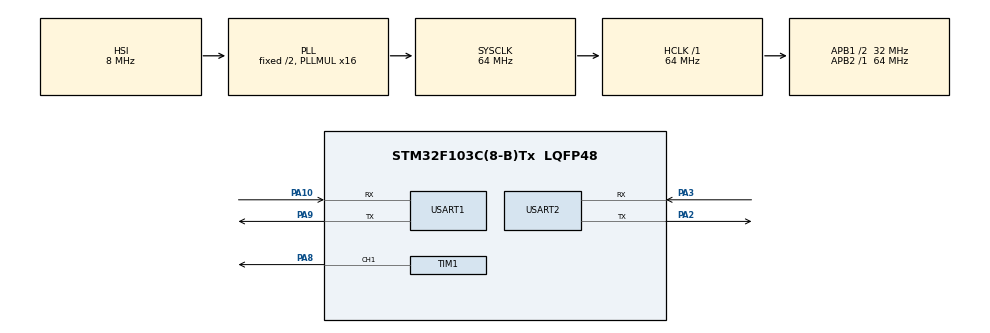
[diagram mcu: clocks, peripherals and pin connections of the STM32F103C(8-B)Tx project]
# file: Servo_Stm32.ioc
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Dma.Request0=USART1_RX
Dma.Request1=USART1_TX
Dma.USART1_RX.0.Direction=DMA_PERIPH_TO_MEMORY
Dma.USART1_RX.0.Instance=DMA1_Channel5
Dma.USART1_RX.0.MemDataAlignment=DMA_MDATAALIGN_BYTE
Dma.USART1_RX.0.MemInc=DMA_MINC_ENABLE
Dma.USART1_RX.0.Mode=DMA_NORMAL
Dma.USART1_RX.0.PeriphDataAlignment=DMA_PDATAALIGN_BYTE
Dma.USART1_RX.0.PeriphInc=DMA_PINC_DISABLE
Dma.USART1_RX.0.Priority=DMA_PRIORITY_LOW
Dma.USART1_TX.1.Direction=DMA_MEMORY_TO_PERIPH
Dma.USART1_TX.1.Instance=DMA1_Channel4
Dma.USART1_TX.1.MemDataAlignment=DMA_MDATAALIGN_BYTE
Dma.USART1_TX.1.MemInc=DMA_MINC_ENABLE
Dma.USART1_TX.1.Mode=DMA_NORMAL
Dma.USART1_TX.1.PeriphDataAlignment=DMA_PDATAALIGN_BYTE
Dma.USART1_TX.1.PeriphInc=DMA_PINC_DISABLE
Dma.USART1_TX.1.Priority=DMA_PRIORITY_LOW
Mcu.Family=STM32F1
Mcu.Name=STM32F103C(8-B)Tx
Mcu.Package=LQFP48
NVIC.DMA1_Channel4_IRQn=true\:0\:0\:false\:false\:true\:false\:true\:true
NVIC.DMA1_Channel5_IRQn=true\:0\:0\:false\:false\:true\:false\:true\:true
NVIC.PriorityGroup=NVIC_PRIORITYGROUP_4
NVIC.TIM1_UP_IRQn=true\:0\:0\:false\:false\:true\:true\:true\:true
NVIC.USART1_IRQn=true\:1\:0\:true\:false\:true\:true\:true\:true
PA10.Mode=Asynchronous
PA10.Signal=USART1_RX
PA13.Mode=Serial_Wire
PA13.Signal=SYS_JTMS-SWDIO
PA14.Mode=Serial_Wire
PA14.Signal=SYS_JTCK-SWCLK
PA2.Mode=Asynchronous
PA2.Signal=USART2_TX
PA3.Mode=Asynchronous
PA3.Signal=USART2_RX
PA8.Signal=S_TIM1_CH1
PA9.Mode=Asynchronous
PA9.Signal=USART1_TX
ProjectManager.HeapSize=0x200
ProjectManager.StackSize=0x400
ProjectManager.TargetToolchain=STM32CubeIDE
RCC.AHBFreq_Value=64000000
RCC.APB1CLKDivider=RCC_HCLK_DIV2
RCC.APB1Freq_Value=32000000
RCC.APB1TimFreq_Value=64000000
RCC.APB2Freq_Value=64000000
RCC.APB2TimFreq_Value=64000000
RCC.HCLKFreq_Value=64000000
RCC.PLLMUL=RCC_PLL_MUL16
RCC.SYSCLKFreq_VALUE=64000000
RCC.SYSCLKSource=RCC_SYSCLKSOURCE_PLLCLK
RCC.USBFreq_Value=64000000
SH.S_TIM1_CH1.0=TIM1_CH1,PWM Generation1 CH1
TIM1.Channel-PWM\ Generation1\ CH1=TIM_CHANNEL_1
TIM1.Period=19999
TIM1.Prescaler=63
USART1.VirtualMode=VM_ASYNC
USART2.VirtualMode=VM_ASYNC
VP_TIM1_VS_ClockSourceINT.Mode=Internal
board=custom

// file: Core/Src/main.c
/* USER CODE BEGIN Header */
/**
  ******************************************************************************
  * @file           : main.c
  * @brief          : Main program body
  ******************************************************************************
  * @attention
  *
  * Copyright (c) 2024 STMicroelectronics.
  * All rights reserved.
  *
  * This software is licensed under terms that can be found in the LICENSE file
  * in the root directory of this software component.
  * If
 LICENSE file comes with this software, it is provided AS-IS.
  *
  ******************************************************************************
  */
/* USER CODE END Header */
#include "main.h"

/* USER CODE BEGIN Includes */
#include "stdlib.h"
/* USER CODE END Includes */

/* USER CODE BEGIN PTD */
uint8_t dataBuffer[3];
int angle;
uint8_t flag = 0;
/* USER CODE END PTD */

TIM_HandleTypeDef htim1;

UART_HandleTypeDef huart1;
UART_HandleTypeDef huart2;
DMA_HandleTypeDef hdma_usart1_rx;
DMA_HandleTypeDef hdma_usart1_tx;

void SystemClock_Config(void);
static void MX_GPIO_Init(void);
static void MX_DMA_Init(void);
static void MX_TIM1_Init(void);
static void MX_USART1_UART_Init(void);
static void MX_USART2_UART_Init(void);
/* USER CODE BEGIN PFP */
long map(long x, long in_min, long in_max,long out_min, long out_max)
{
	return (x - in_min)*(out_max - out_min)/(in_max - in_min) + out_min;
}
/* USER CODE END PFP */

/* USER CODE BEGIN 0 */
void Servo_pwm(TIM_HandleTypeDef *htim, uint32_t channel, uint8_t angle)
{
	uint16_t ARR = __HAL_TIM_GET_AUTORELOAD(htim);
	uint16_t CCR = 1000+((float)angle/180)*1000;
	uint16_t CCR1 = map(angle,0,180,544,2400);
	__HAL_TIM_SET_COMPARE(htim,channel,CCR1);
}

void delay_us(uint32_t us)
{
	__HAL_TIM_SetCounter(&htim1,0);
	HAL_TIM_Base_Start(&htim1);
	while(__HAL_TIM_GET_COUNTER(&htim1)<us);
	HAL_TIM_Base_Stop(&htim1);
}
/* USER CODE END 0 */

int main(void)
{

  /* MCU Configuration--------------------------------------------------------*/

  /* Reset of all peripherals, Initializes the Flash interface and the Systick. */
  HAL_Init();

  /* Configure the system clock */
  SystemClock_Config();

  /* Initialize all configured peripherals */
  MX_GPIO_Init();
  MX_DMA_Init();
  MX_TIM1_Init();
  MX_USART1_UART_Init();
  MX_USART2_UART_Init();
  /* USER CODE BEGIN 2 */
HAL_TIM_PWM_Start(&htim1, TIM_CHANNEL_1);
HAL_UART_Receive(&huart1, dataBuffer,2,300);

  /* USER CODE END 2 */

  /* Infinite loop */
  while (1)
  {

    /* USER CODE BEGIN 3 */
//	    Servo_pwm(&htim1, TIM_CHANNEL_1, 0);
//	    HAL_Delay(1000);
//	    Servo_pwm(&htim1, TIM_CHANNEL_1, 90);
//	    HAL_Delay(1000);
//	    Servo_pwm(&htim1, TIM_CHANNEL_1, 180);
//	    HAL_Delay(100);
	  HAL_UART_Receive(&huart1, dataBuffer,2,300);
	  delay_us(200);
	  angle = atoi((char*)dataBuffer);
	  HAL_Delay(500);
	  Servo_pwm(&htim1, TIM_CHANNEL_1, angle);
  }
  /* USER CODE END 3 */
}

void SystemClock_Config(void)
{
  RCC_OscInitTypeDef RCC_OscInitStruct = {0};
  RCC_ClkInitTypeDef RCC_ClkInitStruct = {0};

  /** Initializes the RCC Oscillators according to the specified parameters
  * in the RCC_OscInitTypeDef structure.
  */
  RCC_OscInitStruct.OscillatorType = RCC_OSCILLATORTYPE_HSI;
  RCC_OscInitStruct.HSIState = RCC_HSI_ON;
  RCC_OscInitStruct.HSICalibrationValue = RCC_HSICALIBRATION_DEFAULT;
  RCC_OscInitStruct.PLL.PLLState = RCC_PLL_ON;
  RCC_OscInitStruct.PLL.PLLSource = RCC_PLLSOURCE_HSI_DIV2;
  RCC_OscInitStruct.PLL.PLLMUL = RCC_PLL_MUL16;
  if (HAL_RCC_OscConfig(&RCC_OscInitStruct) != HAL_OK)
  {
    Error_Handler();
  }

  /** Initializes the CPU, AHB and APB buses clocks
  */
  RCC_ClkInitStruct.ClockType = RCC_CLOCKTYPE_HCLK|RCC_CLOCKTYPE_SYSCLK
                              |RCC_CLOCKTYPE_PCLK1|RCC_CLOCKTYPE_PCLK2;
  RCC_ClkInitStruct.SYSCLKSource = RCC_SYSCLKSOURCE_PLLCLK;
  RCC_ClkInitStruct.AHBCLKDivider = RCC_SYSCLK_DIV1;
  RCC_ClkInitStruct.APB1CLKDivider = RCC_HCLK_DIV2;
  RCC_ClkInitStruct.APB2CLKDivider = RCC_HCLK_DIV1;

  if (HAL_RCC_ClockConfig(&RCC_ClkInitStruct, FLASH_LATENCY_2) != HAL_OK)
  {
    Error_Handler();
  }
}

static void MX_TIM1_Init(void)
{

  TIM_ClockConfigTypeDef sClockSourceConfig = {0};
  TIM_MasterConfigTypeDef sMasterConfig = {0};
  TIM_OC_InitTypeDef sConfigOC = {0};
  TIM_BreakDeadTimeConfigTypeDef sBreakDeadTimeConfig = {0};

  htim1.Instance = TIM1;
  htim1.Init.Prescaler = 63;
  htim1.Init.CounterMode = TIM_COUNTERMODE_UP;
  htim1.Init.Period = 19999;
  htim1.Init.ClockDivision = TIM_CLOCKDIVISION_DIV1;
  htim1.Init.RepetitionCounter = 0;
  htim1.Init.AutoReloadPreload = TIM_AUTORELOAD_PRELOAD_DISABLE;
  if (HAL_TIM_Base_Init(&htim1) != HAL_OK)
  {
    Error_Handler();
  }
  sClockSourceConfig.ClockSource = TIM_CLOCKSOURCE_INTERNAL;
  if (HAL_TIM_ConfigClockSource(&htim1, &sClockSourceConfig) != HAL_OK)
  {
    Error_Handler();
  }
  if (HAL_TIM_PWM_Init(&htim1) != HAL_OK)
  {
    Error_Handler();
  }
  sMasterConfig.MasterOutputTrigger = TIM_TRGO_RESET;
  sMasterConfig.MasterSlaveMode = TIM_MASTERSLAVEMODE_DISABLE;
  if (HAL_TIMEx_MasterConfigSynchronization(&htim1, &sMasterConfig) != HAL_OK)
  {
    Error_Handler();
  }
  sConfigOC.OCMode = TIM_OCMODE_PWM1;
  sConfigOC.Pulse = 0;
  sConfigOC.OCPolarity = TIM_OCPOLARITY_HIGH;
  sConfigOC.OCNPolarity = TIM_OCNPOLARITY_HIGH;
  sConfigOC.OCFastMode = TIM_OCFAST_DISABLE;
  sConfigOC.OCIdleState = TIM_OCIDLESTATE_RESET;
  sConfigOC.OCNIdleState = TIM_OCNIDLESTATE_RESET;
  if (HAL_TIM_PWM_ConfigChannel(&htim1, &sConfigOC, TIM_CHANNEL_1) != HAL_OK)
  {
    Error_Handler();
  }
  sBreakDeadTimeConfig.OffStateRunMode = TIM_OSSR_DISABLE;
  sBreakDeadTimeConfig.OffStateIDLEMode = TIM_OSSI_DISABLE;
  sBreakDeadTimeConfig.LockLevel = TIM_LOCKLEVEL_OFF;
  sBreakDeadTimeConfig.DeadTime = 0;
  sBreakDeadTimeConfig.BreakState = TIM_BREAK_DISABLE;
  sBreakDeadTimeConfig.BreakPolarity = TIM_BREAKPOLARITY_HIGH;
  sBreakDeadTimeConfig.AutomaticOutput = TIM_AUTOMATICOUTPUT_DISABLE;
  if (HAL_TIMEx_ConfigBreakDeadTime(&htim1, &sBreakDeadTimeConfig) != HAL_OK)
  {
    Error_Handler();
  }
  HAL_TIM_MspPostInit(&htim1);

}

static void MX_USART1_UART_Init(void)
{

  huart1.Instance = USART1;
  huart1.Init.BaudRate = 115200;
  huart1.Init.WordLength = UART_WORDLENGTH_8B;
  huart1.Init.StopBits = UART_STOPBITS_1;
  huart1.Init.Parity = UART_PARITY_NONE;
  huart1.Init.Mode = UART_MODE_TX_RX;
  huart1.Init.HwFlowCtl = UART_HWCONTROL_NONE;
  huart1.Init.OverSampling = UART_OVERSAMPLING_16;
  if (HAL_UART_Init(&huart1) != HAL_OK)
  {
    Error_Handler();
  }

}

static void MX_USART2_UART_Init(void)
{

  huart2.Instance = USART2;
  huart2.Init.BaudRate = 115200;
  huart2.Init.WordLength = UART_WORDLENGTH_8B;
  huart2.Init.StopBits = UART_STOPBITS_1;
  huart2.Init.Parity = UART_PARITY_NONE;
  huart2.Init.Mode = UART_MODE_TX_RX;
  huart2.Init.HwFlowCtl = UART_HWCONTROL_NONE;
  huart2.Init.OverSampling = UART_OVERSAMPLING_16;
  if (HAL_UART_Init(&huart2) != HAL_OK)
  {
    Error_Handler();
  }

}

static void MX_DMA_Init(void)
{

  /* DMA controller clock enable */
  __HAL_RCC_DMA1_CLK_ENABLE();

  /* DMA interrupt init */
  /* DMA1_Channel4_IRQn interrupt configuration */
  HAL_NVIC_SetPriority(DMA1_Channel4_IRQn, 0, 0);
  HAL_NVIC_EnableIRQ(DMA1_Channel4_IRQn);
  /* DMA1_Channel5_IRQn interrupt configuration */
  HAL_NVIC_SetPriority(DMA1_Channel5_IRQn, 0, 0);
  HAL_NVIC_EnableIRQ(DMA1_Channel5_IRQn);

}

static void MX_GPIO_Init(void)
{

  /* GPIO Ports Clock Enable */
  __HAL_RCC_GPIOA_CLK_ENABLE();

}

void Error_Handler(void)
{
  __disable_irq();
  while (1)
  {
  }
}
